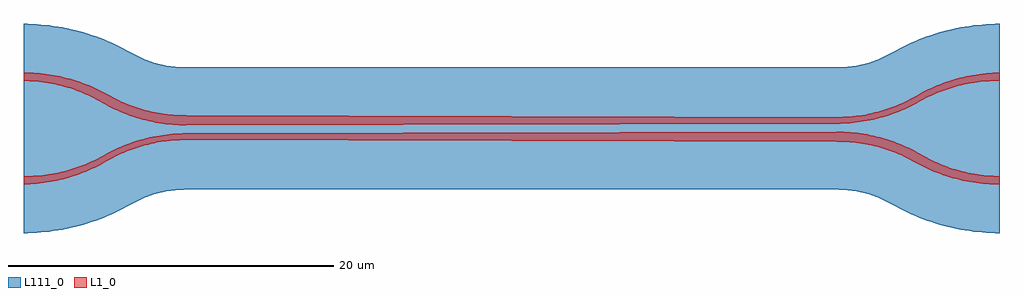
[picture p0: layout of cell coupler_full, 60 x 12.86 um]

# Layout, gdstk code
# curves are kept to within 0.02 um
import gdstk
lib = gdstk.Library(unit=1e-6, precision=1e-09)
def R(c, l, rs):  # rectangles x0, y0, x1, y1
    for r in rs: c.add(gdstk.rectangle(r[:2], r[2:], *l))
def P(c, l, *ps):  # polygons
    for p in ps: c.add(gdstk.Polygon(p, *l))
L1_0 = (1, 0)
L111_0 = (111, 0)

coupler_full = lib.new_cell('coupler_full')
P(coupler_full, L1_0, [(0,0.25),(0.619,0.237),(1.442,0.162),(2.659,-0.075),(3.841,-0.457),(4.412,-0.701),(5.15,-1.08),(4.85,-1.6),(4.337,-1.317),(3.627,-0.989),(2.517,-0.606),(1.368,-0.36),(0.784,-0.289),(0,-0.25)],
  [(4.85,-1.6),(5.584,-1.985),(6.154,-2.235),(7.334,-2.629),(8.143,-2.811),(8.758,-2.904),(10,-2.979),(10,-2.379),(8.831,-2.309),(8.252,-2.221),(7.489,-2.049),(6.378,-1.678),(5.842,-1.443),(5.15,-1.08)],
  [(10,-2.379),(10,-2.979),(50,-2.879),(50,-2.479)],
  [(50,-2.879),(51.229,-2.805),(51.839,-2.712),(52.64,-2.532),(53.808,-2.142),(54.373,-1.895),(55.1,-1.513),(54.9,-1.167),(54.379,-1.447),(53.659,-1.771),(52.536,-2.146),(51.766,-2.319),(51.181,-2.408),(50,-2.479)],
  [(54.9,-1.167),(55.624,-0.778),(56.187,-0.525),(57.354,-0.123),(57.954,0.024),(58.766,0.164),(60,0.25),(60,-0.25),(59.411,-0.262),(58.628,-0.333),(57.47,-0.558),(56.346,-0.921),(55.802,-1.153),(55.1,-1.513)],
  [(0,-6.609),(1.234,-6.523),(2.046,-6.383),(2.646,-6.236),(3.813,-5.834),(4.376,-5.581),(5.1,-5.192),(4.9,-4.846),(4.198,-5.206),(3.654,-5.438),(2.53,-5.801),(1.372,-6.026),(0.589,-6.097),(0,-6.109)],
  [(4.9,-4.846),(5.627,-4.464),(6.192,-4.217),(7.36,-3.827),(8.161,-3.647),(8.771,-3.554),(10,-3.479),(10,-3.879),(8.819,-3.951),(8.234,-4.04),(7.464,-4.213),(6.341,-4.588),(5.621,-4.912),(5.1,-5.192)],
  [(10,-3.479),(10,-3.879),(50,-3.979),(50,-3.379)],
  [(50,-3.379),(51.242,-3.455),(51.857,-3.548),(52.666,-3.73),(53.846,-4.124),(54.416,-4.374),(55.15,-4.759),(54.85,-5.279),(54.158,-4.916),(53.622,-4.681),(52.511,-4.31),(51.748,-4.138),(51.169,-4.05),(50,-3.979)],
  [(54.85,-5.279),(55.401,-5.569),(56.159,-5.902),(57.341,-6.284),(58.558,-6.521),(59.381,-6.596),(60,-6.609),(60,-6.109),(59.216,-6.07),(58.632,-5.999),(57.483,-5.753),(56.373,-5.37),(55.663,-5.042),(55.15,-4.759)])
R(coupler_full, L111_0, [(10,-6.929,50,-0.429), (10,-5.929,50,0.571)])
P(coupler_full, L111_0, [(0,3.25),(0.8,3.226),(1.862,3.119),(2.65,2.982),(3.429,2.799),(4.196,2.568),(5.194,2.19),(5.92,1.854),(6.625,1.475),(3.375,-4.154),(2.646,-3.79),(1.747,-3.48),(0.814,-3.299),(0,-3.25)],
  [(3.375,-4.154),(4.08,-4.533),(4.806,-4.869),(5.804,-5.248),(6.571,-5.478),(7.35,-5.662),(8.403,-5.833),(9.2,-5.905),(10,-5.929),(10,0.571),(9.052,0.637),(8.253,0.801),(7.354,1.111),(6.625,1.475)],
  [(50,-5.929),(50.8,-5.905),(51.597,-5.833),(52.65,-5.662),(53.429,-5.478),(54.196,-5.248),(55.194,-4.869),(55.92,-4.533),(56.625,-4.154),(53.375,1.475),(52.646,1.111),(51.747,0.801),(50.948,0.637),(50,0.571)],
  [(53.375,1.475),(54.08,1.854),(54.806,2.19),(55.804,2.568),(56.571,2.799),(57.35,2.982),(58.138,3.119),(59.2,3.226),(60,3.25),(60,-3.25),(59.186,-3.299),(58.253,-3.48),(57.354,-3.79),(56.625,-4.154)],
  [(0,-9.609),(0.8,-9.585),(1.862,-9.478),(2.65,-9.341),(3.429,-9.158),(4.196,-8.927),(5.194,-8.549),(5.92,-8.213),(6.625,-7.834),(3.375,-2.205),(2.646,-2.569),(1.747,-2.879),(0.814,-3.06),(0,-3.109)],
  [(3.375,-2.205),(4.08,-1.826),(4.806,-1.49),(5.804,-1.111),(6.571,-0.881),(7.35,-0.697),(8.403,-0.526),(9.2,-0.454),(10,-0.429),(10,-6.929),(9.052,-6.996),(8.253,-7.159),(7.354,-7.47),(6.625,-7.834)],
  [(50,-0.429),(50.8,-0.454),(51.597,-0.526),(52.65,-0.697),(53.429,-0.881),(54.196,-1.111),(55.194,-1.49),(55.92,-1.826),(56.625,-2.205),(53.375,-7.834),(52.646,-7.47),(51.747,-7.159),(50.948,-6.996),(50,-6.929)],
  [(53.375,-7.834),(54.08,-8.213),(54.806,-8.549),(55.804,-8.927),(56.571,-9.158),(57.35,-9.341),(58.138,-9.478),(59.2,-9.585),(60,-9.609),(60,-3.109),(59.186,-3.06),(58.253,-2.879),(57.354,-2.569),(56.625,-2.205)])

lib.write_gds('coupler_full.gds')
